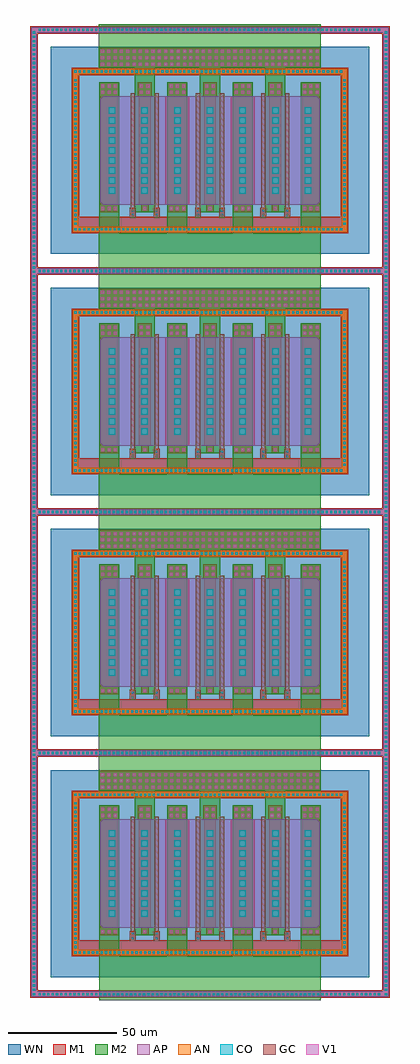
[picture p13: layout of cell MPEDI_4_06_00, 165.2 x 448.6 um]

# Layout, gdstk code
import gdstk
lib = gdstk.Library(unit=1e-6, precision=1e-09)
def R(c, l, rs):  # rectangles x0, y0, x1, y1
    for r in rs: c.add(gdstk.rectangle(r[:2], r[2:], *l))
def A(c, l, x, y, w, h, nx, ny, dx, dy):  # array of equal rectangles
    R(c, l, [(x+i*dx, y+j*dy, x+i*dx+w, y+j*dy+h) for i in range(nx) for j in range(ny)])
def P(c, l, *ps):  # polygons
    for p in ps: c.add(gdstk.Polygon(p, *l))
AP = (3, 1)
AN = (3, 2)
GC = (8, 1)
CO = (11, 0)
M1 = (13, 0)
V1 = (19, 0)
M2 = (20, 0)
WN = (140, 0)

wlmp_cdns_696587089213 = lib.new_cell('WLMP_CDNS_696587089213')
R(wlmp_cdns_696587089213, WN, [(1.5,1.5,147.7,96.7)])

tc14_cdns_696587089210 = lib.new_cell('TC14_CDNS_696587089210')
R(tc14_cdns_696587089210, M1, [(-36.5,-1.7,36.5,1.7)])
A(tc14_cdns_696587089210, V1, -35.5, -0.7, 1.4, 1.4, 25, 1, 2.9, 0)
R(tc14_cdns_696587089210, M2, [(-36.5,-1.7,36.5,1.7)])

sgct_cdns_696587089211 = lib.new_cell('SGCT_CDNS_696587089211')
R(sgct_cdns_696587089211, GC, [(-1.3,-2.3,1.3,2.3)])
R(sgct_cdns_696587089211, CO, [(-0.5,-1.5,0.5,-0.5), (-0.5,0.5,0.5,1.5)])
R(sgct_cdns_696587089211, M1, [(-1.3,-2.3,1.3,2.3)])

tc14_cdns_696587089212 = lib.new_cell('TC14_CDNS_696587089212')
R(tc14_cdns_696587089212, M1, [(-4.6,-1.7,4.6,1.7)])
A(tc14_cdns_696587089212, V1, -3.6, -0.7, 1.4, 1.4, 3, 1, 2.9, 0)
R(tc14_cdns_696587089212, M2, [(-4.6,-1.7,4.6,1.7)])

tc14_cdns_696587089213 = lib.new_cell('TC14_CDNS_696587089213')
R(tc14_cdns_696587089213, M1, [(-4.6,-3.1,4.6,3.2)])
A(tc14_cdns_696587089213, V1, -3.6, -2.1, 1.4, 1.4, 3, 2, 2.9, 2.9)
R(tc14_cdns_696587089213, M2, [(-4.6,-3.1,4.6,3.2)])

tc14_cdns_696587089214 = lib.new_cell('TC14_CDNS_696587089214')
R(tc14_cdns_696587089214, M1, [(-1.7,-3.1,1.7,3.2)])
R(tc14_cdns_696587089214, V1, [(-0.7,-2.1,0.7,-0.7), (-0.7,0.8,0.7,2.2)])
R(tc14_cdns_696587089214, M2, [(-1.7,-3.1,1.7,3.2)])

tc14_cdns_696587089215 = lib.new_cell('TC14_CDNS_696587089215')
R(tc14_cdns_696587089215, M1, [(-1.7,-1.7,1.7,1.7)])
R(tc14_cdns_696587089215, V1, [(-0.7,-0.7,0.7,0.7)])
R(tc14_cdns_696587089215, M2, [(-1.7,-1.7,1.7,1.7)])

mpedi_06_00_int = lib.new_cell('MPEDI_06_00_int')
P(mpedi_06_00_int, AP, [(25.5,24.1),(24.1,25.5),(24.1,72.7),(25.5,74.1),(123.7,74.1),(125.1,72.7),(125.1,25.5),(123.7,24.1)])
P(mpedi_06_00_int, AN, [(11.5,11.5),(11.5,84.1),(14.1,84.1),(14.1,14.1),(135.1,14.1),(135.1,84.1),(11.5,84.1),(11.5,86.7),(137.7,86.7),(137.7,11.5)],
  [(11.5,11.5),(11.5,84.1),(14.1,84.1),(14.1,14.1),(135.1,14.1),(135.1,84.1),(11.5,84.1),(11.5,86.7),(137.7,86.7),(137.7,11.5)])
R(mpedi_06_00_int, GC, [(38.1,22.7,40.1,75.3), (49.1,22.7,51.1,75.3), (68.1,22.7,70.1,75.3), (79.1,22.7,81.1,75.3), (98.1,22.7,100.1,75.3), (109.1,22.7,111.1,75.3)])
A(mpedi_06_00_int, CO, 12.3, 12.3, 1, 1, 62, 2, 2, 72.6)
A(mpedi_06_00_int, CO, 12.3, 14.9, 1, 1, 1, 34, 0, 2)
A(mpedi_06_00_int, CO, 135.9, 14.9, 1, 1, 1, 34, 0, 2)
A(mpedi_06_00_int, CO, 28.1, 29.2, 3, 3, 1, 9, 0, 4.6)
A(mpedi_06_00_int, CO, 118.1, 29.2, 3, 3, 1, 9, 0, 4.6)
R(mpedi_06_00_int, CO, [(43.1,29.2,46.1,32.2), (43.1,29.2,46.1,32.2), (58.1,29.2,61.1,32.2), (58.1,29.2,61.1,32.2), (73.1,29.2,76.1,32.2), (73.1,29.2,76.1,32.2), (88.1,29.2,91.1,32.2), (88.1,29.2,91.1,32.2), (103.1,29.2,106.1,32.2), (103.1,29.2,106.1,32.2), (43.1,33.8,46.1,36.8), (43.1,33.8,46.1,36.8), (58.1,33.8,61.1,36.8), (58.1,33.8,61.1,36.8), (73.1,33.8,76.1,36.8), (73.1,33.8,76.1,36.8), (88.1,33.8,91.1,36.8), (88.1,33.8,91.1,36.8), (103.1,33.8,106.1,36.8), (103.1,33.8,106.1,36.8), (43.1,38.4,46.1,41.4), (43.1,38.4,46.1,41.4), (58.1,38.4,61.1,41.4), (58.1,38.4,61.1,41.4), (73.1,38.4,76.1,41.4), (73.1,38.4,76.1,41.4), (88.1,38.4,91.1,41.4), (88.1,38.4,91.1,41.4), (103.1,38.4,106.1,41.4), (103.1,38.4,106.1,41.4), (43.1,43,46.1,46), (43.1,43,46.1,46), (58.1,43,61.1,46), (58.1,43,61.1,46), (73.1,43,76.1,46), (73.1,43,76.1,46), (88.1,43,91.1,46), (88.1,43,91.1,46), (103.1,43,106.1,46), (103.1,43,106.1,46), (43.1,47.6,46.1,50.6), (43.1,47.6,46.1,50.6), (58.1,47.6,61.1,50.6), (58.1,47.6,61.1,50.6), (73.1,47.6,76.1,50.6), (73.1,47.6,76.1,50.6), (88.1,47.6,91.1,50.6), (88.1,47.6,91.1,50.6), (103.1,47.6,106.1,50.6), (103.1,47.6,106.1,50.6), (43.1,52.2,46.1,55.2), (43.1,52.2,46.1,55.2), (58.1,52.2,61.1,55.2), (58.1,52.2,61.1,55.2), (73.1,52.2,76.1,55.2), (73.1,52.2,76.1,55.2), (88.1,52.2,91.1,55.2), (88.1,52.2,91.1,55.2), (103.1,52.2,106.1,55.2), (103.1,52.2,106.1,55.2), (43.1,56.8,46.1,59.8), (43.1,56.8,46.1,59.8), (58.1,56.8,61.1,59.8), (58.1,56.8,61.1,59.8), (73.1,56.8,76.1,59.8), (73.1,56.8,76.1,59.8), (88.1,56.8,91.1,59.8), (88.1,56.8,91.1,59.8), (103.1,56.8,106.1,59.8), (103.1,56.8,106.1,59.8), (43.1,61.4,46.1,64.4), (43.1,61.4,46.1,64.4), (58.1,61.4,61.1,64.4), (58.1,61.4,61.1,64.4), (73.1,61.4,76.1,64.4), (73.1,61.4,76.1,64.4), (88.1,61.4,91.1,64.4), (88.1,61.4,91.1,64.4), (103.1,61.4,106.1,64.4), (103.1,61.4,106.1,64.4), (43.1,66,46.1,69), (43.1,66,46.1,69), (58.1,66,61.1,69), (58.1,66,61.1,69), (73.1,66,76.1,69), (73.1,66,76.1,69), (88.1,66,91.1,69), (88.1,66,91.1,69), (103.1,66,106.1,69), (103.1,66,106.1,69)])
R(mpedi_06_00_int, M1, [(11.5,11.5,137.7,14.1), (11.5,14.1,14.1,84.1), (14.1,14.1,135.1,18.5), (135.1,14.1,137.7,84.1), (24.1,24.1,32.3,74.1), (41.9,24.1,47.3,74.1), (41.9,24.1,47.3,74.1), (54.1,24.1,62.3,74.1), (56.9,24.1,65.1,74.1), (71.9,24.1,77.3,74.1), (71.9,24.1,77.3,74.1), (84.1,24.1,92.3,74.1), (86.9,24.1,95.1,74.1), (101.9,24.1,107.3,74.1), (101.9,24.1,107.3,74.1), (116.9,24.1,125.1,74.1), (11.5,84.1,137.7,86.7)])
A(mpedi_06_00_int, M2, 40, 20.7, 9.2, 69.8, 3, 1, 30, 0)
R(mpedi_06_00_int, M2, [(23.6,8.1,32.8,80.4), (23.6,8.1,25,9.5), (55,8.1,64.2,80.4), (85,8.1,94.2,80.4), (116.4,8.1,125.6,80.4), (38,89.1,39.4,90.5)])
mpedi_06_00_int.add(gdstk.FlexPath([(11.1,12.8),(138.1,12.8)], 3.4, ends="flush", simple_path=True, layer=13, datatype=0))  # M1
mpedi_06_00_int.add(gdstk.FlexPath([(11.1,85.4),(138.1,85.4)], 3.4, ends="flush", simple_path=True, layer=13, datatype=0))  # M1
mpedi_06_00_int.add(gdstk.FlexPath([(12.8,11.1),(12.8,87.1)], 3.4, ends="flush", simple_path=True, layer=13, datatype=0))  # M1
mpedi_06_00_int.add(gdstk.FlexPath([(136.4,11.1),(136.4,87.1)], 3.4, ends="flush", simple_path=True, layer=13, datatype=0))  # M1
mpedi_06_00_int.add(gdstk.FlexPath([(125.6,9.6),(23.6,9.6)], 3, ends="flush", simple_path=True, layer=20, datatype=0))  # M2
mpedi_06_00_int.add(gdstk.Reference(wlmp_cdns_696587089213, (0,0)))
mpedi_06_00_int.add(gdstk.Reference(tc14_cdns_696587089210, (74.5,88.8)))
mpedi_06_00_int.add(gdstk.Reference(sgct_cdns_696587089211, (110.1,20.4)))
mpedi_06_00_int.add(gdstk.Reference(sgct_cdns_696587089211, (99.1,20.4)))
mpedi_06_00_int.add(gdstk.Reference(sgct_cdns_696587089211, (80.1,20.4)))
mpedi_06_00_int.add(gdstk.Reference(sgct_cdns_696587089211, (69.1,20.4)))
mpedi_06_00_int.add(gdstk.Reference(sgct_cdns_696587089211, (50.1,20.4)))
mpedi_06_00_int.add(gdstk.Reference(sgct_cdns_696587089211, (39.1,20.4)))
mpedi_06_00_int.add(gdstk.Reference(tc14_cdns_696587089212, (121,22.4)))
mpedi_06_00_int.add(gdstk.Reference(tc14_cdns_696587089212, (89.6,22.4)))
mpedi_06_00_int.add(gdstk.Reference(tc14_cdns_696587089212, (59.6,22.4)))
mpedi_06_00_int.add(gdstk.Reference(tc14_cdns_696587089212, (28.2,22.4)))
mpedi_06_00_int.add(gdstk.Reference(tc14_cdns_696587089213, (121,77.2)))
mpedi_06_00_int.add(gdstk.Reference(tc14_cdns_696587089213, (89.6,77.2)))
mpedi_06_00_int.add(gdstk.Reference(tc14_cdns_696587089213, (59.6,77.2)))
mpedi_06_00_int.add(gdstk.Reference(tc14_cdns_696587089213, (28.2,77.2)))
mpedi_06_00_int.add(gdstk.Reference(tc14_cdns_696587089214, (106.1,77.2)))
mpedi_06_00_int.add(gdstk.Reference(tc14_cdns_696587089214, (103.1,77.2)))
mpedi_06_00_int.add(gdstk.Reference(tc14_cdns_696587089214, (76.1,77.2)))
mpedi_06_00_int.add(gdstk.Reference(tc14_cdns_696587089214, (73.1,77.2)))
mpedi_06_00_int.add(gdstk.Reference(tc14_cdns_696587089214, (46.1,77.2)))
mpedi_06_00_int.add(gdstk.Reference(tc14_cdns_696587089214, (43.1,77.2)))
mpedi_06_00_int.add(gdstk.Reference(tc14_cdns_696587089215, (104.6,22.4)))
mpedi_06_00_int.add(gdstk.Reference(tc14_cdns_696587089215, (74.6,22.4)))
mpedi_06_00_int.add(gdstk.Reference(tc14_cdns_696587089215, (44.7,22.4)))

tc14_cdns_696587050830 = lib.new_cell('TC14_CDNS_696587050830')
R(tc14_cdns_696587050830, M1, [(-51,-4.5,51,4.7)])
A(tc14_cdns_696587050830, V1, -50, -3.5, 1.4, 1.4, 35, 3, 2.9, 2.9)
R(tc14_cdns_696587050830, M2, [(-51,-4.5,51,4.7)])

mpedi_4_06_00 = lib.new_cell('MPEDI_4_06_00')
P(mpedi_4_06_00, AP, [(1.4,1.4),(1.4,112.2),(4,112.2),(4,4),(163.2,4),(163.2,112.2),(1.4,112.2),(1.4,223),(4,223),(4,114.8),(163.2,114.8),(163.2,223),(1.4,223),(1.4,333.8),(4,333.8),(4,225.6),(163.2,225.6),(163.2,333.8),(1.4,333.8),(1.4,444.6),(4,444.6),(4,336.4),(163.2,336.4),(163.2,444.6),(1.4,444.6),(1.4,447.2),(165.8,447.2),(165.8,1.4)])
A(mpedi_4_06_00, CO, 2.2, 2.2, 1, 1, 1, 222, 0, 2)
A(mpedi_4_06_00, CO, 4.8, 2.2, 1, 1, 79, 5, 2, 110.8)
A(mpedi_4_06_00, CO, 164, 2.2, 1, 1, 1, 222, 0, 2)
A(mpedi_4_06_00, M1, 4, 1.4, 159.2, 2.6, 1, 5, 0, 110.8)
R(mpedi_4_06_00, M1, [(1.4,1.4,4,447.2), (163.2,1.4,165.8,447.2)])
A(mpedi_4_06_00, M2, 32.5, 96.1, 102.1, 34.8, 1, 3, 0, 110.8)
R(mpedi_4_06_00, M2, [(32.6,0,134.6,20.1), (32.6,17.1,34.1,18.6), (32.6,17.1,34.1,18.6), (32.5,428.5,134.6,448.6), (32.5,447.1,34,448.6)])
mpedi_4_06_00.add(gdstk.FlexPath([(1,224.3),(166.2,224.3)], 3.4, ends="flush", simple_path=True, layer=13, datatype=0))  # M1
mpedi_4_06_00.add(gdstk.FlexPath([(1,113.5),(166.2,113.5)], 3.4, ends="flush", simple_path=True, layer=13, datatype=0))  # M1
mpedi_4_06_00.add(gdstk.FlexPath([(1,2.7),(166.2,2.7)], 3.4, ends="flush", simple_path=True, layer=13, datatype=0))  # M1
mpedi_4_06_00.add(gdstk.FlexPath([(1,335.1),(166.2,335.1)], 3.4, ends="flush", simple_path=True, layer=13, datatype=0))  # M1
mpedi_4_06_00.add(gdstk.FlexPath([(2.7,1),(2.7,447.6)], 3.4, ends="flush", simple_path=True, layer=13, datatype=0))  # M1
mpedi_4_06_00.add(gdstk.FlexPath([(1,445.9),(166.2,445.9)], 3.4, ends="flush", simple_path=True, layer=13, datatype=0))  # M1
mpedi_4_06_00.add(gdstk.FlexPath([(164.5,1),(164.5,447.6)], 3.4, ends="flush", simple_path=True, layer=13, datatype=0))  # M1
mpedi_4_06_00.add(gdstk.Reference(mpedi_06_00_int, (9,9)))
mpedi_4_06_00.add(gdstk.Reference(mpedi_06_00_int, (9,119.8)))
mpedi_4_06_00.add(gdstk.Reference(mpedi_06_00_int, (9,230.6)))
mpedi_4_06_00.add(gdstk.Reference(mpedi_06_00_int, (9,341.4)))
mpedi_4_06_00.add(gdstk.Reference(tc14_cdns_696587050830, (83.5,433)))
mpedi_4_06_00.add(gdstk.Reference(tc14_cdns_696587050830, (83.5,100.6)))
mpedi_4_06_00.add(gdstk.Reference(tc14_cdns_696587050830, (83.5,211.4)))
mpedi_4_06_00.add(gdstk.Reference(tc14_cdns_696587050830, (83.5,322.2)))

lib.write_gds('MPEDI_4_06_00.gds')
